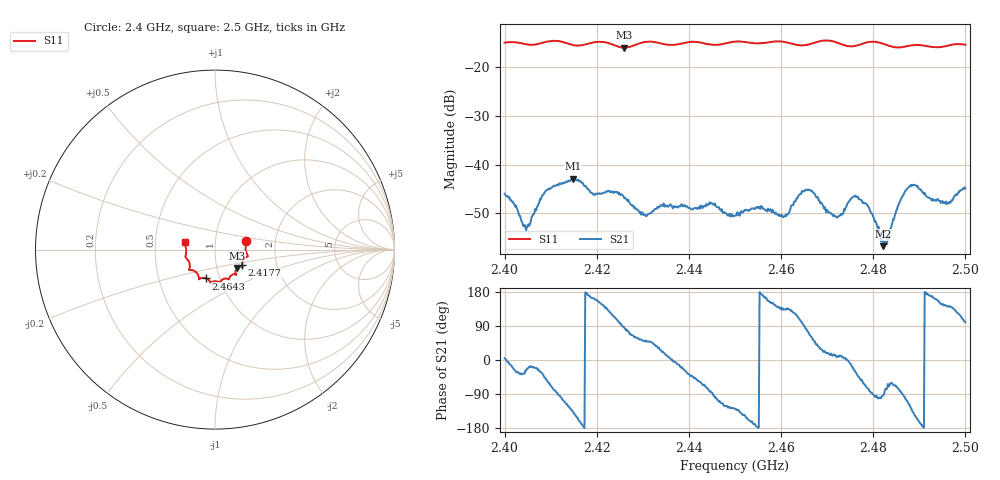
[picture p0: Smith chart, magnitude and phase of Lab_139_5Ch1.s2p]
# Hz S RI R 50
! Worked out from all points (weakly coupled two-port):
!   601 points, 2.4 GHz to 2.5 GHz, reference 50 ohm
!   highest |S21| = -42.94 dB at 2.4148 GHz (marker M1); lowest = -56.8 dB at 2.4822 GHz (marker M2)
!   lowest |S11| = -16.0 dB at 2.4258 GHz (marker M3), VSWR 1.38, Z = 62.4 - j13.1 ohm
!   |S11| at or under -10 dB: start of sweep to end of sweep
!   S12 and S22 are empty: the file has one direction only
!   S11 on the Smith chart (normalised r, x): 2.4 GHz: 1.41, +0.14; 2.4177 GHz: 1.33, -0.23; 2.4643 GHz: 0.86, -0.29; 2.5 GHz: 0.71, +0.06
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2.4e9  0.1729 0.0478  0.005 0.000414  0 0  0 0
2.405e9  0.171 0.0156  0.00214 -0.000874  0 0  0 0
2.409e9  0.1804 -0.0296  0.00341 -0.00421  0 0  0 0
2.414833e9  0.1607 -0.0529  -0.00523 -0.00485  0 0  0 0
2.416667e9  0.1517 -0.073  -0.00636 -0.00126  0 0  0 0
2.417667e9  0.1506 -0.0845  -0.00587 0.000279  0 0  0 0
2.425833e9  0.1221 -0.1023  0.000249 0.00467  0 0  0 0
2.4305e9  0.1176 -0.1392  0.00196 0.00232  0 0  0 0
2.433333e9  0.1139 -0.1376  0.00314 0.00189  0 0  0 0
2.444833e9  0.0579 -0.161  0.000326 -0.00404  0 0  0 0
2.45e9  0.0275 -0.182  -0.00186 -0.00232  0 0  0 0
2.460833e9  -0.0273 -0.1801  -0.00202 0.00213  0 0  0 0
2.464333e9  -0.0492 -0.161  -0.00105 0.00485  0 0  0 0
2.466667e9  -0.0761 -0.1582  0.00277 0.00461  0 0  0 0
2.471833e9  -0.0889 -0.1585  0.00287 0.000639  0 0  0 0
2.476833e9  -0.1248 -0.1148  0.00315 -0.0031  0 0  0 0
2.479333e9  -0.1436 -0.1133  0.000387 -0.00329  0 0  0 0
2.482167e9  -0.1416 -0.1018  -7.77e-05 -0.00144  0 0  0 0
2.483333e9  -0.1403 -0.0905  0.000599 -0.00163  0 0  0 0
2.488e9  -0.1603 -0.0483  -0.00321 -0.00505  0 0  0 0
2.495667e9  -0.164 0.0177  -0.00324 0.00231  0 0  0 0
2.5e9  -0.1647 0.0439  -0.000975 0.00563  0 0  0 0
